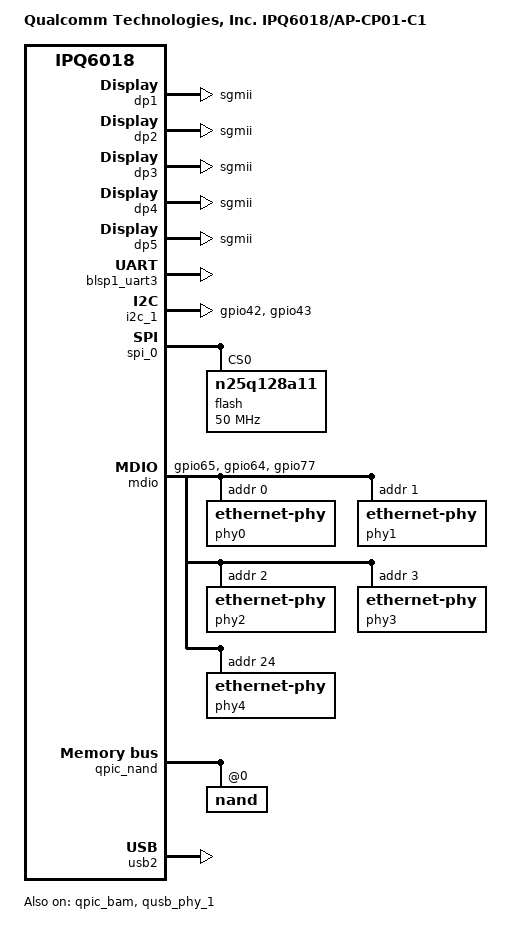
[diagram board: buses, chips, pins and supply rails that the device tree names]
// SPDX-License-Identifier: (GPL-2.0+ OR BSD-3-Clause)
/*
 * IPQ6018 CP01 board device tree source
 *
 * Copyright (c) 2019, The Linux Foundation. All rights reserved.
 */

/dts-v1/;

#include "ipq6018.dtsi"

/ {
	model = "Qualcomm Technologies, Inc. IPQ6018/AP-CP01-C1";
	compatible = "qcom,ipq6018-cp01", "qcom,ipq6018";

	aliases {
		serial0 = &blsp1_uart3;
	};

	chosen {
		stdout-path = "serial0:115200n8";
		bootargs-append = " swiotlb=1";
	};

	nss-macsec0 {
		compatible = "qcom,nss-macsec";
		phy_addr = <0x18>;
		phy_access_mode = <0>;
		mdiobus = <&mdio>;
	};

	ess-switch@3a000000 {
		switch_cpu_bmp = <0x1>;  /* cpu port bitmap */
		switch_lan_bmp = <0x1e>; /* lan port bitmap */
		switch_wan_bmp = <0x20>; /* wan port bitmap */
		switch_inner_bmp = <0xc0>; /*inner port bitmap*/
		switch_mac_mode = <0x0>; /* mac mode for uniphy instance0*/
		switch_mac_mode1 = <0xd>; /* mac mode for uniphy instance1*/
		switch_mac_mode2 = <0xff>; /* mac mode for uniphy instance2*/

		qcom,port_phyinfo {
			port@0 {
				port_id = <1>;
				phy_address = <0>;
			};
			port@1 {
				port_id = <2>;
				phy_address = <1>;
			};
			port@2 {
				port_id = <3>;
				phy_address = <2>;
			};
			port@3 {
				port_id = <4>;
				phy_address = <3>;
			};
			port@4 {
				port_id = <5>;
				phy_address = <0x18>;
				port_mac_sel = "QGMAC_PORT";
			};
		};
	};

	dp1 {
		device_type = "network";
		compatible = "qcom,nss-dp";
		qcom,id = <1>;
		reg = <0x0 0x3a001000 0x0 0x200>;
		qcom,mactype = <0>;
		local-mac-address = [000000000000];
		qcom,link-poll = <1>;
		qcom,phy-mdio-addr = <0>;
		phy-mode = "sgmii";
	};

	dp2 {
		device_type = "network";
		compatible = "qcom,nss-dp";
		qcom,id = <2>;
		reg = <0x0 0x3a001200 0x0 0x200>;
		qcom,mactype = <0>;
		local-mac-address = [000000000000];
		qcom,link-poll = <1>;
		qcom,phy-mdio-addr = <1>;
		phy-mode = "sgmii";
	};

	dp3 {
		device_type = "network";
		compatible = "qcom,nss-dp";
		qcom,id = <3>;
		reg = <0x0 0x3a001400 0x0 0x200>;
		qcom,mactype = <0>;
		local-mac-address = [000000000000];
		qcom,link-poll = <1>;
		qcom,phy-mdio-addr = <2>;
		phy-mode = "sgmii";
	};

	dp4 {
		device_type = "network";
		compatible = "qcom,nss-dp";
		qcom,id = <4>;
		reg = <0x0 0x3a001600 0x0 0x200>;
		qcom,mactype = <0>;
		local-mac-address = [000000000000];
		qcom,link-poll = <1>;
		qcom,phy-mdio-addr = <3>;
		phy-mode = "sgmii";
	};

	dp5 {
		device_type = "network";
		compatible = "qcom,nss-dp";
		qcom,id = <5>;
		reg = <0x0 0x3a001800 0x0 0x200>;
		qcom,mactype = <0>;
		local-mac-address = [000000000000];
		qcom,link-poll = <1>;
		qcom,phy-mdio-addr = <24>;
		phy-mode = "sgmii";
	};
};

&blsp1_uart3 {
	pinctrl-0 = <&serial_3_pins>;
	pinctrl-names = "default";
	status = "okay";
};

&i2c_1 {
	pinctrl-0 = <&i2c_1_pins>;
	pinctrl-names = "default";
	status = "okay";
};

&spi_0 {
	cs-select = <0>;
	status = "okay";

	flash@0 {
		#address-cells = <1>;
		#size-cells = <1>;
		reg = <0>;
		compatible = "n25q128a11";
		spi-max-frequency = <50000000>;
	};
};

&tlmm {
	i2c_1_pins: i2c-1-pins {
		pins = "gpio42", "gpio43";
		function = "blsp2_i2c";
		drive-strength = <8>;
	};

	spi_0_pins: spi-0-pins {
		pins = "gpio38", "gpio39", "gpio40", "gpio41";
		function = "blsp0_spi";
		drive-strength = <8>;
		bias-pull-down;
	};

	mdc_pins: mdc-pins {
		pins = "gpio64";
		functions = "mdc";
		drive-strength = <8>;
		bias-pull-up;
	};

	mdio_pins: mdio-pins {
		pins = "gpio65";
		functions = "mdio";
		drive-strength = <8>;
		bias-pull-up;
	};

	phy_reset_pins: phy-reset-pins {
		pins = "gpio77";
		functions = "gpio";
		drive-strength = <8>;
		bias-pull-up;
	};
};

&mdio {
	pinctrl-0 = <&mdio_pins &mdc_pins &phy_reset_pins>;
	pinctrl-names = "default";
	phy-reset-gpio = <&tlmm 77 1>;
	#address-cells = <1>;
	#size-cells = <0>;
	status = "ok";

	phy0: ethernet-phy@0 {
		reg = <0>;
	};
	phy1: ethernet-phy@1 {
		reg = <1>;
	};
	phy2: ethernet-phy@2 {
		reg = <2>;
	};
	phy3: ethernet-phy@3 {
		reg = <3>;
	};
	phy4: ethernet-phy@4 {
		reg = <0x18>;
	};
};

&qpic_bam {
	status = "okay";
};

&qpic_nand {
	status = "okay";

	nand@0 {
		reg = <0>;

		nand-ecc-strength = <4>;
		nand-ecc-step-size = <512>;
		nand-bus-width = <8>;
	};
};

&qusb_phy_1 {
	status = "ok";
};

&usb2 {
	status = "ok";
};
